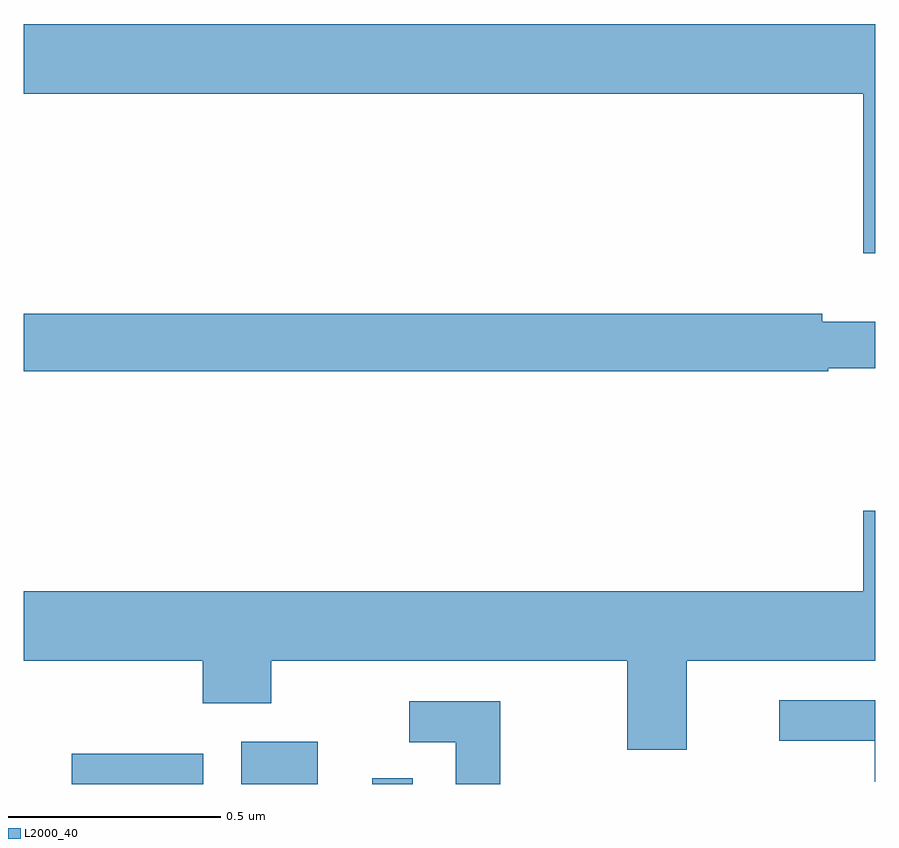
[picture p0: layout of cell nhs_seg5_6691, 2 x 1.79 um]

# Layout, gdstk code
import gdstk
lib = gdstk.Library(unit=1e-6, precision=1e-09)
def R(c, l, rs):  # rectangles x0, y0, x1, y1
    for r in rs: c.add(gdstk.rectangle(r[:2], r[2:], *l))
def P(c, l, *ps):  # polygons
    for p in ps: c.add(gdstk.Polygon(p, *l))
L2000_40 = (2000, 40)

nhs_seg5_6691 = lib.new_cell('nhs_seg5_6691')
R(nhs_seg5_6691, L2000_40, [(199.113,861.799,199.422,861.87), (199.511,861.799,199.69,861.898), (199.818,861.799,199.914,861.812)])
P(nhs_seg5_6691, L2000_40, [(201,863.584),(199,863.584),(199,863.42),(200.972,863.42),(200.972,863.046),(201,863.046)],
  [(200.89,862.776),(201,862.776),(201,862.885),(200.876,862.885),(200.876,862.904),(199,862.904),(199,862.768),(200.89,862.768)],
  [(200.557,862.088),(201,862.088),(201,862.441),(200.972,862.441),(200.972,862.252),(199,862.252),(199,862.088),(199.421,862.088),(199.421,861.989),(199.581,861.989),(199.581,862.088),(200.417,862.088),(200.417,861.88),(200.557,861.88)],
  [(201,861.996),(200.775,861.996),(200.775,861.9),(200.999,861.9),(200.999,861.804),(201,861.804)],
  [(200.119,861.993),(199.905,861.993),(199.905,861.897),(200.015,861.897),(200.015,861.799),(200.119,861.799)])

lib.write_gds('nhs_seg5_6691.gds')
